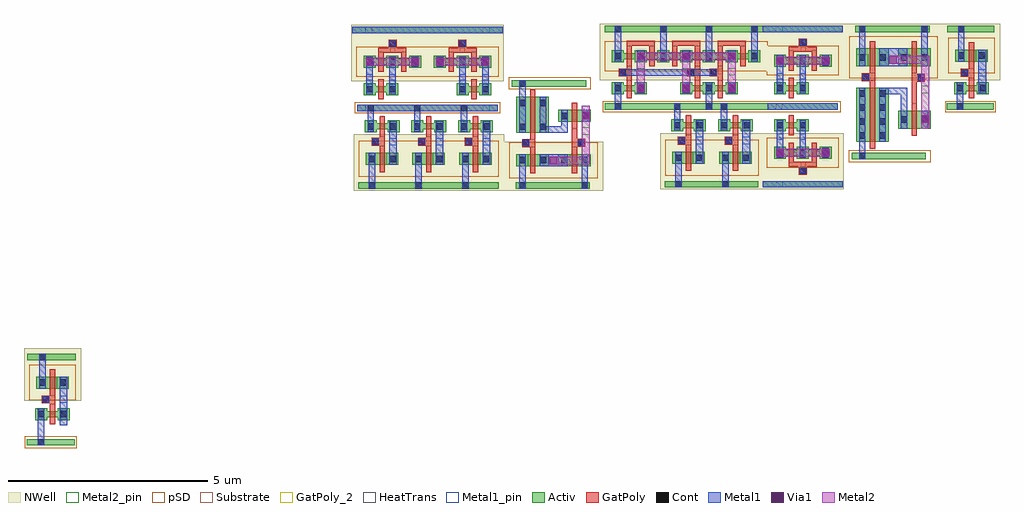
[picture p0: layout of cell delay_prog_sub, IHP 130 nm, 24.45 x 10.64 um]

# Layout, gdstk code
from math import pi, radians
import gdstk
lib = gdstk.Library(unit=1e-6, precision=5e-09)
def R(c, l, rs):  # rectangles x0, y0, x1, y1
    for r in rs: c.add(gdstk.rectangle(r[:2], r[2:], *l))
def A(c, l, x, y, w, h, nx, ny, dx, dy):  # array of equal rectangles
    R(c, l, [(x+i*dx, y+j*dy, x+i*dx+w, y+j*dy+h) for i in range(nx) for j in range(ny)])
Activ = (1, 0)
GatPoly = (5, 0)
GatPoly_2 = (5, 2)
Cont = (6, 0)
Metal1 = (8, 0)
Metal1_pin = (8, 2)
Metal2 = (10, 0)
Metal2_pin = (10, 2)
pSD = (14, 0)
Via1 = (19, 0)
NWell = (31, 0)
Substrate = (40, 0)
HeatTrans = (51, 0)

pmos_1 = lib.new_cell('pmos$1')
R(pmos_1, Activ, [(0,0,0.3,0.3), (0,0,0.81,0.3), (0.51,0,0.81,0.3)])
R(pmos_1, GatPoly, [(0.34,-0.18,0.47,0.48), (0.34,-0.18,0.47,0.48)])
R(pmos_1, Cont, [(0.07,0.07,0.23,0.23), (0.58,0.07,0.74,0.23)])
R(pmos_1, Metal1, [(0.07,0,0.23,0.3), (0.07,0,0.23,0.3), (0.58,0,0.74,0.3), (0.58,0,0.74,0.3)])
R(pmos_1, pSD, [(-0.18,-0.3,0.99,0.6)])
R(pmos_1, NWell, [(-0.31,-0.31,1.12,0.61)])
R(pmos_1, Substrate, [(0.51,0,0.81,0.3)])
R(pmos_1, HeatTrans, [(0.34,-0.18,0.47,0.48)])
pmos_1.add(gdstk.Label('pmos', (0.405,0.15), layer=63, texttype=0))
pmos_1.add(gdstk.Label('pmos', (0.405,0.15), layer=51, texttype=0))

nmos = lib.new_cell('nmos')
R(nmos, Activ, [(0,0,0.3,0.3), (0.57,0,0.87,0.3), (0,0.075,0.87,0.225)])
R(nmos, GatPoly, [(0.37,-0.105,0.5,0.405)])
R(nmos, GatPoly_2, [(0.37,-0.105,0.5,0.405)])
R(nmos, Cont, [(0.07,0.07,0.23,0.23), (0.64,0.07,0.8,0.23)])
R(nmos, Metal1, [(0.07,0.02,0.23,0.28), (0.64,0.02,0.8,0.28)])
R(nmos, Metal1_pin, [(0.07,0.02,0.23,0.28), (0.64,0.02,0.8,0.28)])
R(nmos, HeatTrans, [(0.37,-0.105,0.5,0.405)])
nmos.add(gdstk.Label('nmos', (0.435,0.15), layer=63, texttype=0))
nmos.add(gdstk.Label('nmos', (0.435,0.15), layer=51, texttype=0))

inv_d1 = lib.new_cell('INV_D1')
R(inv_d1, Activ, [(-0.655,-1.24,0.54,-1.08), (-0.64,0.89,0.575,1.05)])
R(inv_d1, GatPoly, [(-0.075,-0.2,0.055,0.005), (-0.275,-0.19,-0.075,0.01)])
R(inv_d1, Cont, [(-0.375,-1.24,-0.215,-1.08), (-0.255,-0.17,-0.095,-0.01), (-0.345,0.89,-0.185,1.05)])
R(inv_d1, Metal1, [(-0.375,-1.24,-0.215,-0.585), (0.165,-0.73,0.355,0.485), (-0.255,-0.17,-0.095,-0.01), (-0.345,0.485,-0.185,1.05)])
R(inv_d1, Metal1_pin, [(-0.375,-1.24,-0.215,-1.08), (-0.255,-0.17,-0.095,-0.01), (0.165,-0.17,0.355,0.01), (-0.345,0.89,-0.185,1.05)])
R(inv_d1, pSD, [(-0.705,-1.315,0.6,-1.015)])
R(inv_d1, NWell, [(-0.725,0.795,0.705,1.195)])
R(inv_d1, Substrate, [(0.095,0.185,0.395,0.485)])
inv_d1.add(gdstk.Reference(pmos_1, (-0.415,0.185)))
inv_d1.add(gdstk.Reference(nmos, (-0.445,-0.605)))
inv_d1.add(gdstk.Label('nmos', (-0.01,-0.6), layer=63, texttype=0))
inv_d1.add(gdstk.Label('VDD', (-0.215,1.025), layer=8, texttype=2))
inv_d1.add(gdstk.Label('VSS', (-0.26,-1.105), layer=8, texttype=2))
inv_d1.add(gdstk.Label('VIN', (-0.155,-0.05), layer=8, texttype=2))
inv_d1.add(gdstk.Label('VOUT', (0.315,-0.025), layer=8, texttype=2))
inv_d1.add(gdstk.Label('VIN', (-0.23,-0.145), layer=8, texttype=25))

pmos_2 = lib.new_cell('pmos$2')
R(pmos_2, Activ, [(0,0,0.3,0.3), (0,0,0.81,0.3), (0.51,0,0.81,0.3)])
R(pmos_2, GatPoly, [(0.34,-0.18,0.47,0.48), (0.34,-0.18,0.47,0.48)])
R(pmos_2, Cont, [(0.07,0.07,0.23,0.23), (0.58,0.07,0.74,0.23)])
R(pmos_2, Metal1, [(0.07,0,0.23,0.3), (0.07,0,0.23,0.3), (0.58,0,0.74,0.3), (0.58,0,0.74,0.3)])
R(pmos_2, pSD, [(-0.18,-0.3,0.99,0.6)])
R(pmos_2, NWell, [(-0.31,-0.31,1.12,0.61)])
R(pmos_2, Substrate, [(0.51,0,0.81,0.3)])
R(pmos_2, HeatTrans, [(0.34,-0.18,0.47,0.48)])
pmos_2.add(gdstk.Label('pmos', (0.405,0.15), layer=63, texttype=0))
pmos_2.add(gdstk.Label('pmos', (0.405,0.15), layer=51, texttype=0))

nmos_1 = lib.new_cell('nmos$1')
R(nmos_1, Activ, [(0,0,0.3,0.3), (0,0,0.81,0.9), (0.51,0,0.81,0.3)])
R(nmos_1, GatPoly, [(0.34,-0.18,0.47,1.08)])
R(nmos_1, GatPoly_2, [(0.34,-0.18,0.47,1.08)])
R(nmos_1, Cont, [(0.07,0.07,0.23,0.23), (0.58,0.07,0.74,0.23), (0.07,0.67,0.23,0.83), (0.58,0.67,0.74,0.83)])
R(nmos_1, Metal1, [(0.07,0,0.23,0.9), (0.58,0,0.74,0.9)])
R(nmos_1, Metal1_pin, [(0.07,0,0.23,0.9), (0.58,0,0.74,0.9)])
R(nmos_1, HeatTrans, [(0.34,-0.18,0.47,1.08)])
nmos_1.add(gdstk.Label('nmos', (0.405,0.45), layer=63, texttype=0))
nmos_1.add(gdstk.Label('nmos', (0.405,0.45), layer=51, texttype=0))

nmos_2 = lib.new_cell('nmos$2')
R(nmos_2, Activ, [(0,0,0.3,0.3), (0,0,0.81,0.3), (0.51,0,0.81,0.3)])
R(nmos_2, GatPoly, [(0.34,-0.18,0.47,0.48)])
R(nmos_2, GatPoly_2, [(0.34,-0.18,0.47,0.48)])
R(nmos_2, Cont, [(0.07,0.07,0.23,0.23), (0.58,0.07,0.74,0.23)])
R(nmos_2, Metal1, [(0.07,0,0.23,0.3), (0.58,0,0.74,0.3)])
R(nmos_2, Metal1_pin, [(0.07,0,0.23,0.3), (0.58,0,0.74,0.3)])
R(nmos_2, HeatTrans, [(0.34,-0.18,0.47,0.48)])
nmos_2.add(gdstk.Label('nmos', (0.405,0.15), layer=63, texttype=0))
nmos_2.add(gdstk.Label('nmos', (0.405,0.15), layer=51, texttype=0))

nand_d2 = lib.new_cell('NAND_D2')
R(nand_d2, Activ, [(-0.055,-0.595,1.805,-0.435), (0.04,1.955,1.9,2.115)])
R(nand_d2, GatPoly, [(1.45,0.44,1.58,1.07), (0.4,0.78,0.53,1.07), (1.58,0.865,1.78,1.065), (0.2,0.875,0.4,1.075)])
R(nand_d2, Cont, [(0.13,-0.595,0.29,-0.435), (1.595,0.885,1.755,1.045), (0.22,0.895,0.38,1.055), (0.13,1.955,0.29,2.115), (1.69,1.955,1.85,2.115)])
R(nand_d2, Metal1, [(0.13,-0.595,0.29,-0.185), (1.69,0.14,1.89,0.44), (1.595,0.885,1.755,1.045), (0.22,0.895,0.38,1.055), (0.64,1.25,1.34,1.55), (0.13,1.55,0.29,2.115), (1.69,1.55,1.85,2.115)])
R(nand_d2, Metal1_pin, [(0.13,-0.595,0.29,-0.435), (1.595,0.885,1.755,1.045), (0.22,0.895,0.38,1.055), (0.13,1.955,0.29,2.115), (1.69,1.955,1.85,2.115)])
R(nand_d2, Metal2_pin, [(1.7,0.57,1.9,0.76)])
R(nand_d2, pSD, [(-0.13,-0.67,1.925,-0.37)])
R(nand_d2, Via1, [(1.69,0.19,1.88,0.38), (0.89,1.315,1.08,1.505)])
R(nand_d2, NWell, [(-0.25,1.86,2.23,2.165)])
nand_d2.add(gdstk.FlexPath([(1.26,0.43),(1.26,0.635),(0.72,0.635),(0.72,0.44)], 0.16, ends="flush", simple_path=True, layer=8, datatype=0))  # Metal1
nand_d2.add(gdstk.FlexPath([(0.885,1.41),(1.79,1.41),(1.79,0.04)], 0.2, ends="flush", simple_path=True, layer=10, datatype=0))  # Metal2
nand_d2.add(gdstk.Reference(pmos_2, (1.92,1.25), rotation=pi, x_reflection=True))
nand_d2.add(gdstk.Reference(pmos_2, (0.87,1.25), rotation=pi, x_reflection=True))
nand_d2.add(gdstk.Reference(nmos_1, (0.87,-0.185), rotation=pi, x_reflection=True))
nand_d2.add(gdstk.Reference(nmos_2, (1.92,0.14), rotation=pi, x_reflection=True))
nand_d2.add(gdstk.Label('VB', (0.255,1.025), layer=8, texttype=2))
nand_d2.add(gdstk.Label('VA', (1.63,1.025), layer=8, texttype=2))
nand_d2.add(gdstk.Label('VDD', (1.715,2.075), layer=8, texttype=2))
nand_d2.add(gdstk.Label('VDD', (0.155,2.075), layer=8, texttype=2))
nand_d2.add(gdstk.Label('VSS', (0.2,-0.47), layer=8, texttype=2))
nand_d2.add(gdstk.Label('VOUT', (1.835,0.705), layer=10, texttype=2))

nmos_3 = lib.new_cell('nmos$3')
R(nmos_3, Activ, [(0,-0.05,0.3,0.25), (0.57,-0.05,0.87,0.25), (0,0.025,0.87,0.175)])
R(nmos_3, GatPoly, [(0.37,-0.155,0.5,0.355)])
R(nmos_3, GatPoly_2, [(0.37,-0.155,0.5,0.355)])
R(nmos_3, Cont, [(0.07,0.02,0.23,0.18), (0.64,0.02,0.8,0.18)])
R(nmos_3, Metal1, [(0.07,-0.03,0.23,0.23), (0.64,-0.03,0.8,0.23)])
R(nmos_3, Metal1_pin, [(0.07,-0.03,0.23,0.23), (0.64,-0.03,0.8,0.23)])
R(nmos_3, HeatTrans, [(0.37,-0.155,0.5,0.355)])
nmos_3.add(gdstk.Label('nmos', (0.435,0.1), layer=63, texttype=0))
nmos_3.add(gdstk.Label('nmos', (0.435,0.1), layer=51, texttype=0))

pmos_1_1 = lib.new_cell('pmos$1$1')
R(pmos_1_1, Activ, [(0,-0.025,0.3,0.275), (0,-0.025,0.81,0.275), (0.51,-0.025,0.81,0.275)])
R(pmos_1_1, GatPoly, [(0.34,-0.205,0.47,0.455), (0.34,-0.205,0.47,0.455)])
R(pmos_1_1, Cont, [(0.07,0.045,0.23,0.205), (0.58,0.045,0.74,0.205)])
R(pmos_1_1, Metal1, [(0.07,-0.025,0.23,0.275), (0.07,-0.025,0.23,0.275), (0.58,-0.025,0.74,0.275), (0.58,-0.025,0.74,0.275)])
R(pmos_1_1, pSD, [(-0.18,-0.325,0.99,0.575)])
R(pmos_1_1, NWell, [(-0.31,-0.49,1.12,0.585)])
R(pmos_1_1, Substrate, [(0.51,-0.025,0.81,0.275)])
R(pmos_1_1, HeatTrans, [(0.34,-0.205,0.47,0.455)])
pmos_1_1.add(gdstk.Label('pmos', (0.405,0.125), layer=63, texttype=0))
pmos_1_1.add(gdstk.Label('pmos', (0.405,0.125), layer=51, texttype=0))

inv_d1_1 = lib.new_cell('INV_D1$1')
R(inv_d1_1, Activ, [(-0.63,-1.05,0.545,-0.89), (-0.61,0.895,0.565,1.055)])
R(inv_d1_1, GatPoly, [(-0.075,-0.25,0.055,-0.02), (-0.275,-0.22,-0.075,-0.02)])
R(inv_d1_1, Cont, [(-0.375,-1.05,-0.215,-0.89), (-0.255,-0.2,-0.095,-0.04), (-0.345,0.895,-0.185,1.055)])
R(inv_d1_1, Metal1, [(-0.375,-1.05,-0.215,-0.635), (0.165,-0.635,0.355,0.46), (-0.255,-0.2,-0.095,-0.04), (-0.345,0.46,-0.185,1.05)])
R(inv_d1_1, Metal1_pin, [(-0.375,-1.05,-0.215,-0.89), (0.165,-0.21,0.355,-0.03), (-0.255,-0.2,-0.095,-0.04), (-0.345,0.895,-0.185,1.055)])
R(inv_d1_1, pSD, [(-0.67,-1.11,0.6,-0.83)])
R(inv_d1_1, NWell, [(-0.725,0.77,0.705,1.105)])
inv_d1_1.add(gdstk.Reference(nmos_3, (-0.445,-0.605)))
inv_d1_1.add(gdstk.Reference(pmos_1_1, (-0.415,0.185)))
inv_d1_1.add(gdstk.Label('VIN', (-0.145,-0.06), layer=8, texttype=2))
inv_d1_1.add(gdstk.Label('VOUT', (0.305,-0.085), layer=8, texttype=2))
inv_d1_1.add(gdstk.Label('VDD', (-0.215,1.03), layer=8, texttype=2))
inv_d1_1.add(gdstk.Label('VSS', (-0.26,-0.915), layer=8, texttype=2))

nmos_6 = lib.new_cell('nmos$6')
R(nmos_6, Activ, [(0,0.025,0.3,0.325), (0.57,0.025,0.87,0.325), (0,0.1,0.87,0.25)])
R(nmos_6, GatPoly, [(0.37,-0.08,0.5,0.43)])
R(nmos_6, GatPoly_2, [(0.37,-0.08,0.5,0.43)])
R(nmos_6, Cont, [(0.07,0.095,0.23,0.255), (0.64,0.095,0.8,0.255)])
R(nmos_6, Metal1, [(0.07,0.045,0.23,0.305), (0.64,0.045,0.8,0.305)])
R(nmos_6, Metal1_pin, [(0.07,0.045,0.23,0.305), (0.64,0.045,0.8,0.305)])
R(nmos_6, HeatTrans, [(0.37,-0.08,0.5,0.43)])
nmos_6.add(gdstk.Label('nmos', (0.435,0.175), layer=63, texttype=0))
nmos_6.add(gdstk.Label('nmos', (0.435,0.175), layer=51, texttype=0))

pmos = lib.new_cell('pmos')
R(pmos, Activ, [(0,-0.04,0.3,0.26), (0.57,-0.04,0.87,0.26), (0,0.035,0.87,0.185)])
R(pmos, GatPoly, [(0.37,-0.145,0.5,0.365), (0.37,-0.145,0.5,0.365)])
R(pmos, Cont, [(0.07,0.03,0.23,0.19), (0.64,0.03,0.8,0.19)])
R(pmos, Metal1, [(0.07,-0.02,0.23,0.24), (0.07,-0.02,0.23,0.24), (0.64,-0.02,0.8,0.24), (0.64,-0.02,0.8,0.24)])
R(pmos, pSD, [(-0.18,-0.265,1.05,0.485)])
R(pmos, NWell, [(-0.31,-0.38,1.18,0.545)])
R(pmos, Substrate, [(0.57,-0.04,0.87,0.26)])
R(pmos, HeatTrans, [(0.37,-0.145,0.5,0.365)])
pmos.add(gdstk.Label('pmos', (0.435,0.11), layer=63, texttype=0))
pmos.add(gdstk.Label('pmos', (0.435,0.11), layer=51, texttype=0))

tg_2c = lib.new_cell('TG_2C')
R(tg_2c, Activ, [(0.15,0.06,1.91,0.22), (0.03,2.005,2.035,2.165)])
R(tg_2c, GatPoly, [(0.935,1.645,1.135,1.845)])
R(tg_2c, GatPoly_2, [(0.68,0.745,0.81,0.86), (0.975,1.515,1.1,1.645)])
R(tg_2c, Cont, [(0.955,1.665,1.115,1.825)])
R(tg_2c, Metal1, [(0.15,0.06,1.91,0.22), (0.36,1.195,0.56,1.395), (1.5,1.195,1.7,1.395), (0.955,1.665,1.115,1.825), (0.03,2.005,2.035,2.165)])
R(tg_2c, Metal1_pin, [(0.355,0.06,0.52,0.22), (0.38,0.825,0.54,0.975), (0.95,0.825,1.11,0.975), (0.355,2.005,0.53,2.165)])
R(tg_2c, Metal2, [(0.36,1.195,1.7,1.395)])
R(tg_2c, pSD, [(0.09,0,1.985,0.28)])
R(tg_2c, Via1, [(0.365,1.2,0.555,1.39), (1.505,1.2,1.695,1.39)])
R(tg_2c, NWell, [(0,1.66,2.06,2.215)])
tg_2c.add(gdstk.FlexPath([(1.03,1.425),(1.03,0.735)], 0.16, ends="flush", simple_path=True, layer=8, datatype=0))  # Metal1
tg_2c.add(gdstk.FlexPath([(0.46,1.425),(0.46,0.735)], 0.16, ends="flush", simple_path=True, layer=8, datatype=0))  # Metal1
tg_2c.add(gdstk.FlexPath([(0.745,1.48),(0.745,1.58),(1.315,1.58),(1.315,1.48)], 0.13, ends="flush", simple_path=True, layer=5, datatype=0))  # GatPoly
tg_2c.add(gdstk.Reference(nmos_6, (0.31,0.43)))
tg_2c.add(gdstk.Reference(pmos, (0.31,1.185)))
tg_2c.add(gdstk.Reference(pmos, (0.88,1.185)))
tg_2c.add(gdstk.Label('VSS', (0.455,0.17), layer=8, texttype=2))
tg_2c.add(gdstk.Label('VDD', (0.465,2.125), layer=8, texttype=2))
tg_2c.add(gdstk.Label('VIN', (0.49,0.935), layer=8, texttype=2))
tg_2c.add(gdstk.Label('VOUT', (1.085,0.91), layer=8, texttype=2))
tg_2c.add(gdstk.Label('VCTRLN', (0.75,0.81), layer=5, texttype=2))
tg_2c.add(gdstk.Label('VCTRLP', (1.065,1.585), layer=5, texttype=2))

half_a = lib.new_cell('HALF_A')
half_a.add(gdstk.Reference(nand_d2, (11.01,6.25)))
half_a.add(gdstk.Reference(inv_d1_1, (8.88,7.31)))
half_a.add(gdstk.Reference(inv_d1_1, (10.055,7.31)))
half_a.add(gdstk.Reference(tg_2c, (6.93,6.48), x_reflection=True))
half_a.add(gdstk.Reference(tg_2c, (10.75,6.48), rotation=pi))

pmos_3 = lib.new_cell('pmos$3')
R(pmos_3, Activ, [(0,0,0.3,0.3), (0,0,0.81,0.45), (0.51,0,0.81,0.3)])
R(pmos_3, GatPoly, [(0.34,-0.18,0.47,0.63), (0.34,-0.18,0.47,0.63)])
R(pmos_3, Cont, [(0.07,0.145,0.23,0.305), (0.58,0.145,0.74,0.305)])
R(pmos_3, Metal1, [(0.07,0,0.23,0.45), (0.07,0,0.23,0.45), (0.58,0,0.74,0.45), (0.58,0,0.74,0.45)])
R(pmos_3, pSD, [(-0.18,-0.3,0.99,0.75)])
R(pmos_3, NWell, [(-0.31,-0.345,1.12,0.76)])
R(pmos_3, Substrate, [(0.51,0,0.81,0.3)])
R(pmos_3, HeatTrans, [(0.34,-0.18,0.47,0.63)])
pmos_3.add(gdstk.Label('pmos', (0.405,0.225), layer=63, texttype=0))
pmos_3.add(gdstk.Label('pmos', (0.405,0.225), layer=51, texttype=0))

nmos_1_1 = lib.new_cell('nmos$1$1')
R(nmos_1_1, Activ, [(0,0,0.3,0.3), (0,0,0.81,1.35), (0.51,0,0.81,0.3)])
R(nmos_1_1, GatPoly, [(0.34,-0.18,0.47,1.53)])
R(nmos_1_1, GatPoly_2, [(0.34,-0.18,0.47,1.53)])
A(nmos_1_1, Cont, 0.07, 0.07, 0.16, 0.16, 1, 4, 0, 0.35)
A(nmos_1_1, Cont, 0.58, 0.07, 0.16, 0.16, 1, 4, 0, 0.35)
R(nmos_1_1, Metal1, [(0.07,0,0.23,1.35), (0.58,0,0.74,1.35)])
R(nmos_1_1, Metal1_pin, [(0.07,0,0.23,1.35), (0.58,0,0.74,1.35)])
R(nmos_1_1, HeatTrans, [(0.34,-0.18,0.47,1.53)])
nmos_1_1.add(gdstk.Label('nmos', (0.405,0.675), layer=63, texttype=0))
nmos_1_1.add(gdstk.Label('nmos', (0.405,0.675), layer=51, texttype=0))

nmos_4 = lib.new_cell('nmos$4')
R(nmos_4, Activ, [(0,0,0.3,0.3), (0,0,0.81,0.45), (0.51,0,0.81,0.3)])
R(nmos_4, GatPoly, [(0.34,-0.18,0.47,0.63)])
R(nmos_4, GatPoly_2, [(0.34,-0.18,0.47,0.63)])
R(nmos_4, Cont, [(0.07,0.145,0.23,0.305), (0.58,0.145,0.74,0.305)])
R(nmos_4, Metal1, [(0.07,0,0.23,0.45), (0.58,0,0.74,0.45)])
R(nmos_4, Metal1_pin, [(0.07,0,0.23,0.45), (0.58,0,0.74,0.45)])
R(nmos_4, HeatTrans, [(0.34,-0.18,0.47,0.63)])
nmos_4.add(gdstk.Label('nmos', (0.405,0.225), layer=63, texttype=0))
nmos_4.add(gdstk.Label('nmos', (0.405,0.225), layer=51, texttype=0))

nand_d3 = lib.new_cell('NAND_D3')
R(nand_d3, Activ, [(-0.055,-1.08,1.805,-0.92), (0.04,2.105,1.9,2.265)])
R(nand_d3, GatPoly, [(1.45,0.31,1.58,1.07), (0.4,0.78,0.53,1.07), (1.58,0.865,1.78,1.065), (0.2,0.875,0.4,1.075)])
R(nand_d3, Cont, [(0.13,-1.08,0.29,-0.92), (1.595,0.885,1.755,1.045), (0.22,0.895,0.38,1.055), (0.13,2.105,0.29,2.265), (1.69,2.105,1.85,2.265)])
R(nand_d3, Metal1, [(0.13,-1.08,0.29,-0.545), (1.69,-0.21,1.89,0.09), (1.595,0.885,1.755,1.045), (0.22,0.895,0.38,1.055), (0.64,1.25,1.34,1.7), (0.13,1.55,0.29,2.265), (1.69,1.55,1.85,2.265)])
R(nand_d3, Metal1_pin, [(0.13,-1.08,0.29,-0.92), (1.595,0.885,1.755,1.045), (0.22,0.895,0.38,1.055), (0.13,2.105,0.29,2.265), (1.69,2.105,1.85,2.265)])
R(nand_d3, Metal2_pin, [(1.69,0.57,1.89,0.76)])
R(nand_d3, pSD, [(-0.13,-1.155,1.925,-0.855)])
R(nand_d3, Via1, [(1.69,-0.16,1.88,0.03), (0.89,1.315,1.08,1.505)])
R(nand_d3, NWell, [(-0.25,2.01,2.23,2.32)])
nand_d3.add(gdstk.FlexPath([(1.26,0.13),(1.26,0.635),(0.72,0.635),(0.72,0.44)], 0.16, ends="flush", simple_path=True, layer=8, datatype=0))  # Metal1
nand_d3.add(gdstk.FlexPath([(0.885,1.41),(1.79,1.41),(1.79,-0.31)], 0.2, ends="flush", simple_path=True, layer=10, datatype=0))  # Metal2
nand_d3.add(gdstk.Reference(pmos_3, (1.92,1.25), rotation=pi, x_reflection=True))
nand_d3.add(gdstk.Reference(pmos_3, (0.87,1.25), rotation=pi, x_reflection=True))
nand_d3.add(gdstk.Reference(nmos_1_1, (0.87,-0.635), rotation=pi, x_reflection=True))
nand_d3.add(gdstk.Reference(nmos_4, (1.92,-0.31), rotation=pi, x_reflection=True))
nand_d3.add(gdstk.Label('VB', (0.255,1.025), layer=8, texttype=2))
nand_d3.add(gdstk.Label('VA', (1.63,1.025), layer=8, texttype=2))
nand_d3.add(gdstk.Label('VDD', (1.715,2.225), layer=8, texttype=2))
nand_d3.add(gdstk.Label('VDD', (0.155,2.225), layer=8, texttype=2))
nand_d3.add(gdstk.Label('VSS', (0.2,-0.955), layer=8, texttype=2))
nand_d3.add(gdstk.Label('VOUT', (1.835,0.705), layer=10, texttype=2))

nmos_5 = lib.new_cell('nmos$5')
R(nmos_5, Activ, [(0,0,0.3,0.3), (0.57,0,0.87,0.3), (0,0.075,0.87,0.225)])
R(nmos_5, GatPoly, [(0.37,-0.105,0.5,0.35)])
R(nmos_5, GatPoly_2, [(0.37,-0.105,0.5,0.35)])
R(nmos_5, Cont, [(0.07,0.07,0.23,0.23), (0.64,0.07,0.8,0.23)])
R(nmos_5, Metal1, [(0.07,0.02,0.23,0.28), (0.64,0.02,0.8,0.28)])
R(nmos_5, Metal1_pin, [(0.07,0.02,0.23,0.28), (0.64,0.02,0.8,0.28)])
R(nmos_5, HeatTrans, [(0.37,-0.105,0.5,0.35)])
nmos_5.add(gdstk.Label('nmos', (0.435,0.15), layer=63, texttype=0))
nmos_5.add(gdstk.Label('nmos', (0.435,0.15), layer=51, texttype=0))

pmos_4 = lib.new_cell('pmos$4')
R(pmos_4, Activ, [(0,-0.055,0.3,0.245), (0.57,-0.055,0.87,0.245), (0,0.02,0.87,0.17)])
R(pmos_4, GatPoly, [(0.37,-0.16,0.5,0.35), (0.37,-0.16,0.5,0.35)])
R(pmos_4, Cont, [(0.07,0.015,0.23,0.175), (0.64,0.015,0.8,0.175)])
R(pmos_4, Metal1, [(0.07,-0.035,0.23,0.225), (0.07,-0.035,0.23,0.225), (0.64,-0.035,0.8,0.225), (0.64,-0.035,0.8,0.225)])
R(pmos_4, pSD, [(-0.18,-0.28,1.05,0.47)])
R(pmos_4, NWell, [(-0.31,-0.505,1.18,0.615)])
R(pmos_4, Substrate, [(0.57,-0.055,0.87,0.245)])
R(pmos_4, HeatTrans, [(0.37,-0.16,0.5,0.35)])
pmos_4.add(gdstk.Label('pmos', (0.435,0.095), layer=63, texttype=0))
pmos_4.add(gdstk.Label('pmos', (0.435,0.095), layer=51, texttype=0))

inv = lib.new_cell('INV')
R(inv, Activ, [(-0.6,-1.01,1.235,-0.85), (-0.6,0.935,1.2,1.095)])
R(inv, GatPoly, [(-0.045,-0.265,0.085,0.08), (-0.045,0.59,0.655,0.72)])
R(inv, GatPoly_2, [(-0.045,-0.125,0.085,0.025)])
R(inv, Cont, [(-0.345,-1.01,-0.185,-0.85), (-0.345,0.935,-0.185,1.095), (0.795,0.935,0.955,1.095)])
R(inv, Metal1, [(-0.345,-1.01,-0.185,-0.595), (0.205,-0.595,0.405,-0.335), (-0.345,0.205,-0.185,1.095), (0.205,0.205,0.405,0.465), (0.795,0.205,0.955,1.095)])
R(inv, Metal1_pin, [(-0.345,-1.01,-0.185,-0.85), (-0.345,0.935,-0.185,1.095), (0.795,0.935,0.955,1.095)])
R(inv, Metal2, [(0.205,-0.57,0.405,0.435)])
R(inv, Metal2_pin, [(0.205,-0.15,0.405,0.035)])
R(inv, pSD, [(-0.64,-1.07,1.29,-0.79)])
R(inv, Via1, [(0.205,-0.56,0.395,-0.37), (0.21,0.24,0.4,0.43)])
R(inv, NWell, [(-0.725,0.855,1.335,1.145)])
inv.add(gdstk.Reference(nmos_5, (-0.415,-0.615)))
r = gdstk.Reference(pmos_4, (-0.415,0.24)); r.repetition = gdstk.Repetition(2, 1, v1=(0.57,0), v2=(0,0)); inv.add(r)

inv_d3 = lib.new_cell('INV_D3')
R(inv_d3, GatPoly, [(-1.05,-0.03,-0.85,0.17), (0.66,-0.03,0.86,0.17), (1.23,-0.03,1.43,0.17)])
R(inv_d3, GatPoly_2, [(-1.015,0.005,-0.885,0.135), (-1.015,0.005,-0.885,0.135), (-1.015,0.005,-0.885,0.135), (0.695,0.005,0.825,0.135), (0.695,0.005,0.825,0.135), (0.695,0.005,0.825,0.135), (1.265,0.005,1.395,0.135), (1.265,0.005,1.395,0.135), (1.265,0.005,1.395,0.135)])
R(inv_d3, Cont, [(-1.15,-0.865,-0.99,-0.705), (-1.03,-0.01,-0.87,0.15), (0.68,-0.01,0.84,0.15), (1.25,-0.01,1.41,0.15)])
R(inv_d3, Metal1, [(-1.03,-0.01,1.41,0.15), (-1.03,-0.01,-0.87,0.15), (0.68,-0.01,0.84,0.15), (1.25,-0.01,1.41,0.15)])
R(inv_d3, Metal1_pin, [(-1.15,-0.865,-0.99,-0.705), (-1.03,-0.01,-0.87,0.15), (0.68,-0.01,0.84,0.15), (1.25,-0.01,1.41,0.15), (-1.15,1.08,-0.99,1.24)])
R(inv_d3, Metal2, [(-0.6,0.38,1.88,0.58)])
r = gdstk.Reference(inv, (-0.805,0.145)); r.repetition = gdstk.Repetition(2, 1, v1=(2.28,0), v2=(0,0)); inv_d3.add(r)
inv_d3.add(gdstk.Reference(inv, (0.945,0.145), rotation=pi, x_reflection=True))
inv_d3.add(gdstk.Label('VSS', (-1.035,-0.73), layer=8, texttype=2))
inv_d3.add(gdstk.Label('VIN', (-0.92,0.1), layer=8, texttype=2))
inv_d3.add(gdstk.Label('VIN', (-0.92,0.1), layer=8, texttype=2))
inv_d3.add(gdstk.Label('VIN', (-0.92,0.1), layer=8, texttype=2))
inv_d3.add(gdstk.Label('VDD', (-1.02,1.215), layer=8, texttype=2))
inv_d3.add(gdstk.Label('VOUT', (1.83,0.135), layer=10, texttype=2))

half_b = lib.new_cell('HALF_B')
half_b.add(gdstk.Reference(nand_d3, (6.37,-1.83), x_reflection=True))
half_b.add(gdstk.Reference(inv_d1_1, (3.415,-1.1)))
half_b.add(gdstk.Reference(tg_2c, (4.06,-1.93), x_reflection=True))
half_b.add(gdstk.Reference(tg_2c, (4.06,-2.21)))
half_b.add(gdstk.Reference(inv_d3, (1.53,-2.855), x_reflection=True))

ff_d = lib.new_cell('FF_D')
ff_d.add(gdstk.Reference(half_a, (0.54,13.555), x_reflection=True))
ff_d.add(gdstk.Reference(half_b, (13.69,5.175), x_reflection=True))
ff_d.add(gdstk.Reference(inv_d1_1, (8.255,6.245), x_reflection=True))
ff_d.add(gdstk.Reference(inv_d1_1, (23.015,8.215)))
ff_d.add(gdstk.Reference(inv_d1_1, (15.93,6.275), x_reflection=True))

delay_prog_sub = lib.new_cell('delay_prog_sub')
delay_prog_sub.add(gdstk.Reference(inv_d1, (0,0)))
delay_prog_sub.add(gdstk.Reference(ff_d, (0,0)))

lib.write_gds('delay_prog_sub.gds')
